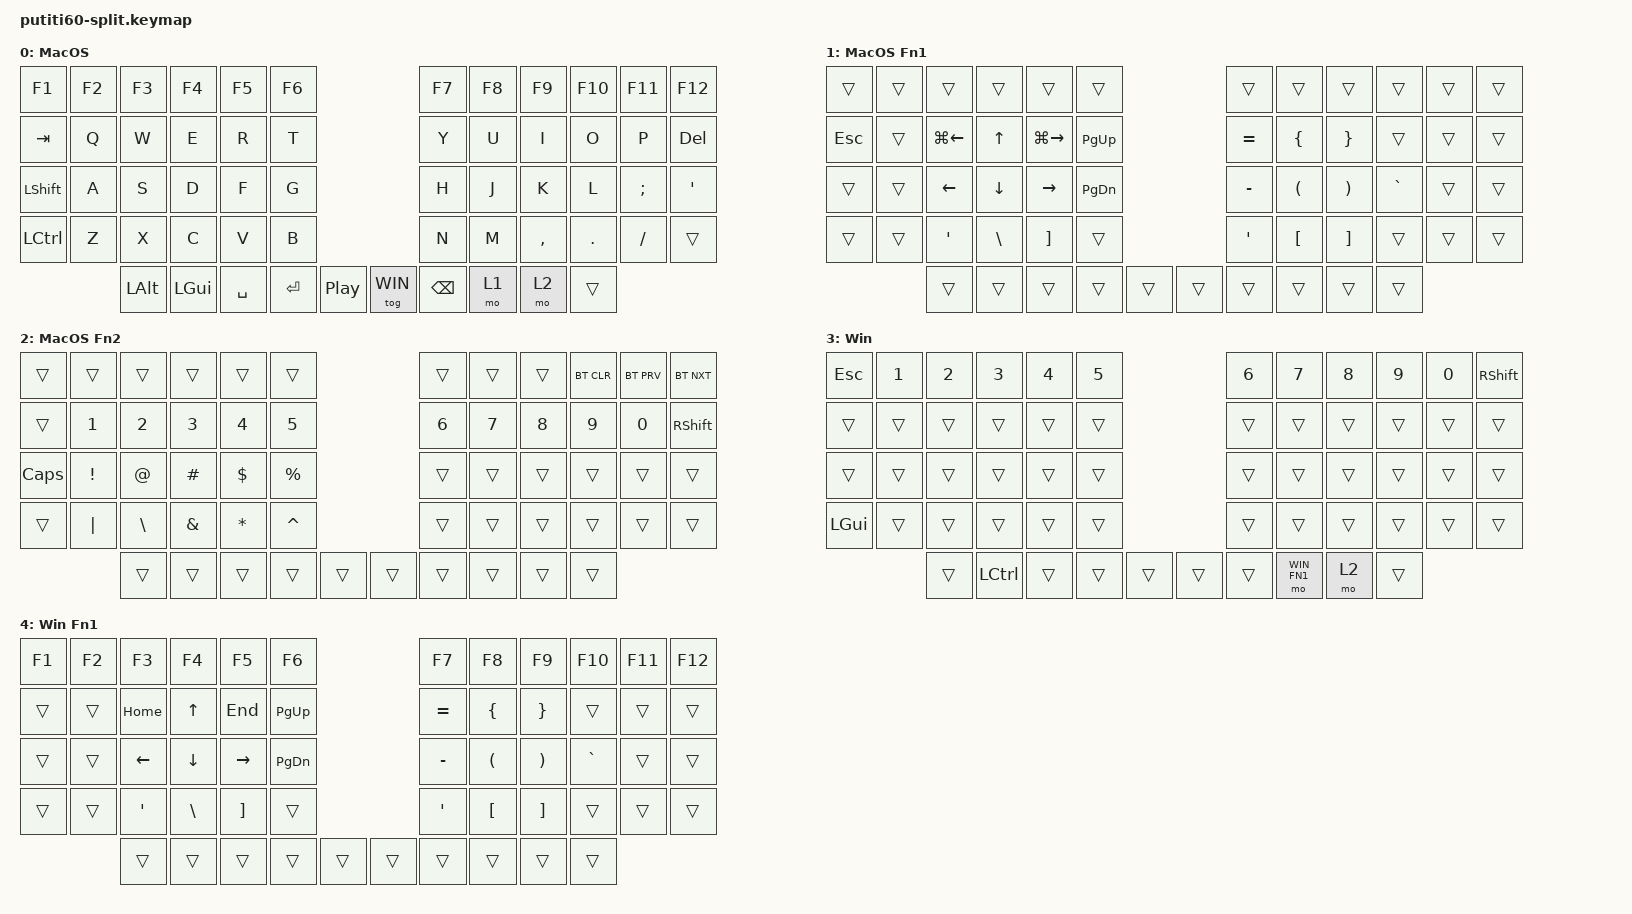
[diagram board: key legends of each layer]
#include <behaviors.dtsi>
#include <dt-bindings/zmk/bt.h>
#include <dt-bindings/zmk/keys.h>

#define WIN 3
#define WIN_FN1 4

/ {
	keymap {
		compatible = "zmk,keymap";

		macos {
			display-name = "MacOS";
			bindings = <
				&kp F1    &kp F2   &kp F3   &kp F4   &kp F5    &kp F6          &kp F7   &kp F8 &kp F9    &kp F10 &kp F11  &kp F12
				&kp TAB   &kp Q    &kp W    &kp E    &kp R     &kp T           &kp Y    &kp U  &kp I     &kp O   &kp P    &kp DEL
				&kp LSHFT &kp A    &kp S    &kp D    &kp F     &kp G           &kp H    &kp J  &kp K     &kp L   &kp SEMI &kp SQT
				&kp LCTRL &kp Z    &kp X    &kp C    &kp V     &kp B           &kp N    &kp M  &kp COMMA &kp DOT &kp FSLH &trans
				          &kp C_PP &kp LALT &kp LGUI &kp SPACE &kp ENTER       &kp BSPC &mo 1  &mo 2     &trans  &tog WIN 
			>;
                        // sensor-bindings = <&inc_dec_kp C_VOL_DN C_VOL_UP       &inc_dec_kp PG_UP PG_DN>;
		};

		macos_fn1 {
			display-name = "MacOS Fn1";
			bindings = <
               &trans  &trans &trans       &trans   &trans        &trans           &trans    &trans   &trans   &trans    &trans  &trans
               &kp ESC &trans &kp LG(LEFT) &kp UP   &kp LG(RIGHT) &kp PG_UP        &kp EQUAL &kp LBRC &kp RBRC &trans    &trans  &trans
               &trans  &trans &kp LEFT     &kp DOWN &kp RIGHT     &kp PG_DN        &kp MINUS &kp LPAR &kp RPAR &kp GRAVE &trans  &trans   
               &trans  &trans &kp SQT      &kp BSLH &kp RBKT      &trans           &kp SQT   &kp LBKT &kp RBKT &trans    &trans  &trans
                       &trans &trans       &trans   &trans        &trans           &trans    &trans   &trans   &trans    &trans
			>; 
		};


		l2 {
			display-name = "MacOS Fn2";
			bindings = <
                &trans   &trans   &trans   &trans   &trans   &trans          &trans &trans &trans &bt BT_CLR &bt BT_PRV &bt BT_NXT
                &trans   &kp N1   &kp N2   &kp N3   &kp N4   &kp N5          &kp N6 &kp N7 &kp N8 &kp N9     &kp N0     &kp RSHFT
                &kp CAPS &kp EXCL &kp AT   &kp HASH &kp DLLR &kp PRCNT       &trans &trans &trans &trans     &trans     &trans
                &trans   &kp PIPE &kp BSLH &kp AMPS &kp STAR &kp CARET       &trans &trans &trans &trans     &trans     &trans 
                         &trans   &trans   &trans   &trans   &trans          &trans &trans &trans &trans     &trans     
			>;
		};
	
		windows {
			display-name = "Win";
			bindings = <
				&kp ESC  &kp N1 &kp N2 &kp N3    &kp N4 &kp N5          &kp N6 &kp N7      &kp N8 &kp N9 &kp N0 &kp RSHFT
				&trans   &trans &trans &trans    &trans &trans          &trans &trans      &trans &trans &trans &trans
				&trans   &trans &trans &trans    &trans &trans          &trans &trans      &trans &trans &trans &trans
				&kp LGUI &trans &trans &trans    &trans &trans          &trans &trans      &trans &trans &trans &trans
				         &trans &trans &kp LCTRL &trans &trans          &trans &mo WIN_FN1 &mo 2  &trans &trans 
			>;
		};

		windows_fn1 {
			display-name = "Win Fn1";
			bindings = <
               &kp F1 &kp F2 &kp F3   &kp F4   &kp F5    &kp F6               &kp F7    &kp F8   &kp F9   &kp F10   &kp F11 &kp F12
               &trans &trans &kp HOME &kp UP   &kp END   &kp PG_UP            &kp EQUAL &kp LBRC &kp RBRC &trans    &trans  &trans
               &trans &trans &kp LEFT &kp DOWN &kp RIGHT &kp PG_DN            &kp MINUS &kp LPAR &kp RPAR &kp GRAVE &trans  &trans   
               &trans &trans &kp SQT  &kp BSLH &kp RBKT  &trans               &kp SQT   &kp LBKT &kp RBKT &trans    &trans  &trans
                      &trans &trans   &trans   &trans    &trans               &trans    &trans   &trans   &trans    &trans  
			>; 
		};
	};
};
